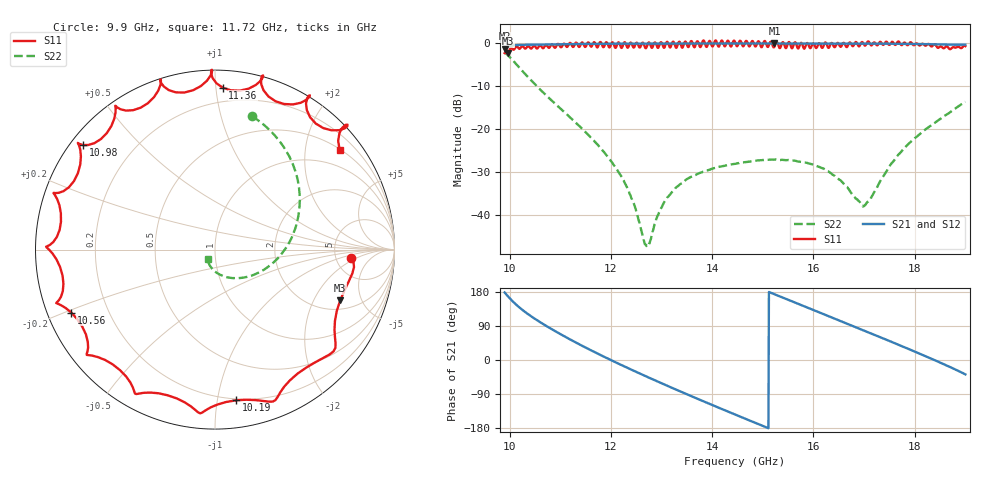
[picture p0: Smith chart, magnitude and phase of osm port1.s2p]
! RsaToolbox (C) 2015 Rohde & Schwarz America
! Number of points: 911
! Number of ports: 2
! Balanced ports?: No
# Hz S RI R 50
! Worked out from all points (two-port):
!   911 points, 9.9 GHz to 19 GHz, reference 50 ohm
!   highest |S21| = -0.18 dB at 15.23 GHz (marker M1); lowest = -1.4 dB at 9.9 GHz (marker M2)
!   |S21| within 3 dB of the highest: start of sweep to end of sweep
!   lowest |S11| = -2.5 dB at 9.96 GHz (marker M3), VSWR 7.09, Z = 127 - j165 ohm
!   |S11| at or under -10 dB: nowhere
!   |S22| runs from -47.2 to -2.3 dB; largest |S21 - S12| = 0
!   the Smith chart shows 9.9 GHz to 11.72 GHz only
!   S11 on the Smith chart (normalised r, x): 9.9 GHz: 6.92, -1.45; 10.19 GHz: 0.19, -1.13; 10.56 GHz: 0.07, -0.21; 10.98 GHz: 0.04, +0.35; 11.36 GHz: 0.11, +1.04; 11.72 GHz: 0.51, +2.76
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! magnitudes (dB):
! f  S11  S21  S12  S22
! 9.9 GHz  -2.4  -1.4  -1.4  -2.3
! 9.96 GHz  -2.5  -1.0  -1.0  -2.9
! 10.19 GHz  -1.4  -0.5  -0.5  -5.8
! 10.56 GHz  -1.2  -0.5  -0.5  -10.4
! 10.98 GHz  -0.5  -0.4  -0.4  -15.0
! 11.36 GHz  -0.9  -0.3  -0.3  -19.1
! 11.42 GHz  0.0  -0.3  -0.3  -19.8
! 11.72 GHz  -1.0  -0.3  -0.3  -23.4
! 12.29 GHz  -0.2  -0.2  -0.2  -32.8
! 12.69 GHz  -1.3  -0.2  -0.2  -46.8
! 12.76 GHz  0.0  -0.2  -0.2  -46.6
! 12.94 GHz  -1.1  -0.2  -0.2  -39.7
! 13.12 GHz  0.1  -0.2  -0.2  -35.8
! 13.51 GHz  -0.7  -0.2  -0.2  -31.5
! 14.45 GHz  0.2  -0.2  -0.2  -28.1
! 15.23 GHz  -0.9  -0.2  -0.2  -27.1
! 15.97 GHz  -0.5  -0.2  -0.2  -28.2
! 16.51 GHz  -0.6  -0.2  -0.2  -31.8
! 16.99 GHz  -0.3  -0.2  -0.2  -37.9
! 17.49 GHz  -0.5  -0.2  -0.2  -28.8
! 18.13 GHz  -0.4  -0.3  -0.3  -20.8
! 19 GHz  -0.8  -0.4  -0.4  -13.7
